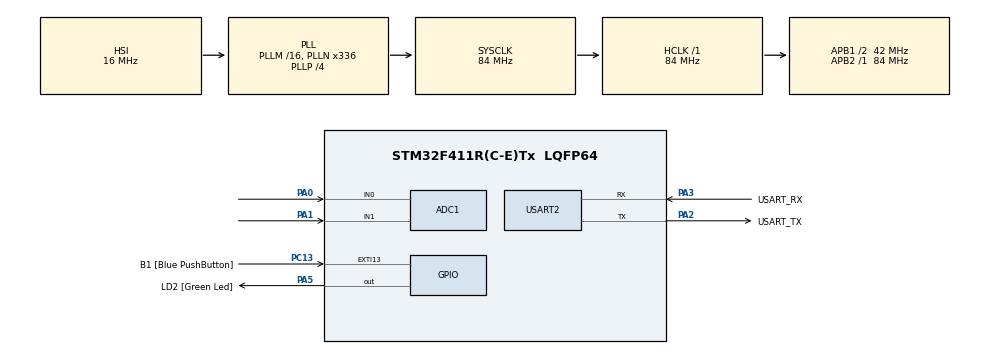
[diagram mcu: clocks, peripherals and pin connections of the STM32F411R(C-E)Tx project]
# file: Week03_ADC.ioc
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ADC1.Channel-0\#ChannelRegularConversion=ADC_CHANNEL_0
ADC1.NbrOfConversionFlag=1
ADC1.Rank-0\#ChannelRegularConversion=1
ADC1.SamplingTime-0\#ChannelRegularConversion=ADC_SAMPLETIME_3CYCLES
ADC1.master=1
Mcu.Family=STM32F4
Mcu.Name=STM32F411R(C-E)Tx
Mcu.Package=LQFP64
NVIC.PriorityGroup=NVIC_PRIORITYGROUP_0
PA0-WKUP.Signal=ADCx_IN0
PA1.Signal=ADCx_IN1
PA13.GPIO_Label=TMS
PA13.Mode=Serial_Wire
PA13.Signal=SYS_JTMS-SWDIO
PA14.GPIO_Label=TCK
PA14.Mode=Serial_Wire
PA14.Signal=SYS_JTCK-SWCLK
PA2.GPIO_Label=USART_TX
PA2.Mode=Asynchronous
PA2.Signal=USART2_TX
PA3.GPIO_Label=USART_RX
PA3.Mode=Asynchronous
PA3.Signal=USART2_RX
PA5.GPIO_Label=LD2 [Green Led]
PA5.Signal=GPIO_Output
PB3.GPIO_Label=SWO
PB3.Signal=SYS_JTDO-SWO
PC13-ANTI_TAMP.GPIO_Label=B1 [Blue PushButton]
PC13-ANTI_TAMP.GPIO_ModeDefaultEXTI=GPIO_MODE_IT_FALLING
PC13-ANTI_TAMP.Signal=GPXTI13
PC14-OSC32_IN.Mode=LSE-External-Oscillator
PC14-OSC32_IN.Signal=RCC_OSC32_IN
PC15-OSC32_OUT.Mode=LSE-External-Oscillator
PC15-OSC32_OUT.Signal=RCC_OSC32_OUT
PH0\ -\ OSC_IN.Mode=HSE-External-Clock-Source
PH0\ -\ OSC_IN.Signal=RCC_OSC_IN
PH1\ -\ OSC_OUT.Mode=HSE-External-Clock-Source
PH1\ -\ OSC_OUT.Signal=RCC_OSC_OUT
ProjectManager.HeapSize=0x200
ProjectManager.StackSize=0x400
ProjectManager.TargetToolchain=STM32CubeIDE
RCC.48MHZClocksFreq_Value=84000000
RCC.AHBFreq_Value=84000000
RCC.APB1CLKDivider=RCC_HCLK_DIV2
RCC.APB1Freq_Value=42000000
RCC.APB1TimFreq_Value=84000000
RCC.APB2Freq_Value=84000000
RCC.APB2TimFreq_Value=84000000
RCC.CortexFreq_Value=84000000
RCC.FLatency-AdvancedSettings=FLASH_LATENCY_2
RCC.HCLKFreq_Value=84000000
RCC.HSE_VALUE=8000000
RCC.HSI_VALUE=16000000
RCC.PLLN=336
RCC.PLLP=RCC_PLLP_DIV4
RCC.SYSCLKFreq_VALUE=84000000
RCC.SYSCLKSource=RCC_SYSCLKSOURCE_PLLCLK
RCC.VCOOutputFreq_Value=336000000
SH.ADCx_IN0.0=ADC1_IN0,IN0
SH.ADCx_IN1.0=ADC1_IN1,IN1
USART2.VirtualMode=VM_ASYNC
VP_ADC1_TempSens_Input.Mode=IN-TempSens
board=NUCLEO-F411RE

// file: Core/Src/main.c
/* USER CODE BEGIN Header */
/**
  ******************************************************************************
  * @file           : main.c
  * @brief          : Main program body
  ******************************************************************************
  * @attention
  *
  * Copyright (c) 2023 STMicroelectronics.
  * All rights reserved.
  *
  * This software is licensed under terms that can be found in the LICENSE file
  * in the root directory of this software component.
  * If no LICENSE file comes with this software, it is provided AS-IS.
  *
  ******************************************************************************
  */
/* USER CODE END Header */
#include "main.h"

ADC_HandleTypeDef hadc1;

UART_HandleTypeDef huart2;

/* USER CODE BEGIN PV */
typedef struct
{
	ADC_ChannelConfTypeDef Config;
	uint16_t ADC_Data;
}ADC_Structure;
ADC_Structure ADC_Channel[3];
double TEMPS;
//uint32_t ADC_RawData;
/* USER CODE END PV */

void SystemClock_Config(void);
static void MX_GPIO_Init(void);
static void MX_USART2_UART_Init(void);
static void MX_ADC1_Init(void);
void ADC_Read();
void ADC_ConfigInit();
void Read_TEMPS();

int main(void)
{

  /* MCU Configuration--------------------------------------------------------*/

  /* Reset of all peripherals, Initializes the Flash interface and the Systick. */
  HAL_Init();

  /* Configure the system clock */
  SystemClock_Config();

  /* Initialize all configured peripherals */
  MX_GPIO_Init();
  MX_USART2_UART_Init();
  MX_ADC1_Init();
  /* USER CODE BEGIN 2 */
  ADC_ConfigInit();
  /* USER CODE END 2 */

  /* Infinite loop */
  while (1)
  {
	  ADC_Read();
	  Read_TEMPS();
  }
}

void SystemClock_Config(void)
{
  RCC_OscInitTypeDef RCC_OscInitStruct = {0};
  RCC_ClkInitTypeDef RCC_ClkInitStruct = {0};

  /** Configure the main internal regulator output voltage
  */
  __HAL_RCC_PWR_CLK_ENABLE();
  __HAL_PWR_VOLTAGESCALING_CONFIG(PWR_REGULATOR_VOLTAGE_SCALE1);

  /** Initializes the RCC Oscillators according to the specified parameters
  * in the RCC_OscInitTypeDef structure.
  */
  RCC_OscInitStruct.OscillatorType = RCC_OSCILLATORTYPE_HSI;
  RCC_OscInitStruct.HSIState = RCC_HSI_ON;
  RCC_OscInitStruct.HSICalibrationValue = RCC_HSICALIBRATION_DEFAULT;
  RCC_OscInitStruct.PLL.PLLState = RCC_PLL_ON;
  RCC_OscInitStruct.PLL.PLLSource = RCC_PLLSOURCE_HSI;
  RCC_OscInitStruct.PLL.PLLM = 16;
  RCC_OscInitStruct.PLL.PLLN = 336;
  RCC_OscInitStruct.PLL.PLLP = RCC_PLLP_DIV4;
  RCC_OscInitStruct.PLL.PLLQ = 4;
  if (HAL_RCC_OscConfig(&RCC_OscInitStruct) != HAL_OK)
  {
    Error_Handler();
  }

  /** Initializes the CPU, AHB and APB buses clocks
  */
  RCC_ClkInitStruct.ClockType = RCC_CLOCKTYPE_HCLK|RCC_CLOCKTYPE_SYSCLK
                              |RCC_CLOCKTYPE_PCLK1|RCC_CLOCKTYPE_PCLK2;
  RCC_ClkInitStruct.SYSCLKSource = RCC_SYSCLKSOURCE_PLLCLK;
  RCC_ClkInitStruct.AHBCLKDivider = RCC_SYSCLK_DIV1;
  RCC_ClkInitStruct.APB1CLKDivider = RCC_HCLK_DIV2;
  RCC_ClkInitStruct.APB2CLKDivider = RCC_HCLK_DIV1;

  if (HAL_RCC_ClockConfig(&RCC_ClkInitStruct, FLASH_LATENCY_2) != HAL_OK)
  {
    Error_Handler();
  }
}

static void MX_ADC1_Init(void)
{

  ADC_ChannelConfTypeDef sConfig = {0};

  /** Configure the global features of the ADC (Clock, Resolution, Data Alignment and number of conversion)
  */
  hadc1.Instance = ADC1;
  hadc1.Init.ClockPrescaler = ADC_CLOCK_SYNC_PCLK_DIV4;
  hadc1.Init.Resolution = ADC_RESOLUTION_12B;
  hadc1.Init.ScanConvMode = DISABLE;
  hadc1.Init.ContinuousConvMode = DISABLE;
  hadc1.Init.DiscontinuousConvMode = DISABLE;
  hadc1.Init.ExternalTrigConvEdge = ADC_EXTERNALTRIGCONVEDGE_NONE;
  hadc1.Init.ExternalTrigConv = ADC_SOFTWARE_START;
  hadc1.Init.DataAlign = ADC_DATAALIGN_RIGHT;
  hadc1.Init.NbrOfConversion = 1;
  hadc1.Init.DMAContinuousRequests = DISABLE;
  hadc1.Init.EOCSelection = ADC_EOC_SINGLE_CONV;
  if (HAL_ADC_Init(&hadc1) != HAL_OK)
  {
    Error_Handler();
  }

  /** Configure for the selected ADC regular channel its corresponding rank in the sequencer and its sample time.
  */
  sConfig.Channel = ADC_CHANNEL_0;
  sConfig.Rank = 1;
  sConfig.SamplingTime = ADC_SAMPLETIME_3CYCLES;
  if (HAL_ADC_ConfigChannel(&hadc1, &sConfig) != HAL_OK)
  {
    Error_Handler();
  }

}

static void MX_USART2_UART_Init(void)
{

  huart2.Instance = USART2;
  huart2.Init.BaudRate = 115200;
  huart2.Init.WordLength = UART_WORDLENGTH_8B;
  huart2.Init.StopBits = UART_STOPBITS_1;
  huart2.Init.Parity = UART_PARITY_NONE;
  huart2.Init.Mode = UART_MODE_TX_RX;
  huart2.Init.HwFlowCtl = UART_HWCONTROL_NONE;
  huart2.Init.OverSampling = UART_OVERSAMPLING_16;
  if (HAL_UART_Init(&huart2) != HAL_OK)
  {
    Error_Handler();
  }

}

static void MX_GPIO_Init(void)
{
  GPIO_InitTypeDef GPIO_InitStruct = {0};

  /* GPIO Ports Clock Enable */
  __HAL_RCC_GPIOC_CLK_ENABLE();
  __HAL_RCC_GPIOH_CLK_ENABLE();
  __HAL_RCC_GPIOA_CLK_ENABLE();
  __HAL_RCC_GPIOB_CLK_ENABLE();

  /*Configure GPIO pin Output Level */
  HAL_GPIO_WritePin(LD2_GPIO_Port, LD2_Pin, GPIO_PIN_RESET);

  /*Configure GPIO pin : B1_Pin */
  GPIO_InitStruct.Pin = B1_Pin;
  GPIO_InitStruct.Mode = GPIO_MODE_IT_FALLING;
  GPIO_InitStruct.Pull = GPIO_NOPULL;
  HAL_GPIO_Init(B1_GPIO_Port, &GPIO_InitStruct);

  /*Configure GPIO pin : LD2_Pin */
  GPIO_InitStruct.Pin = LD2_Pin;
  GPIO_InitStruct.Mode = GPIO_MODE_OUTPUT_PP;
  GPIO_InitStruct.Pull = GPIO_NOPULL;
  GPIO_InitStruct.Speed = GPIO_SPEED_FREQ_LOW;
  HAL_GPIO_Init(LD2_GPIO_Port, &GPIO_InitStruct);

}

/* USER CODE BEGIN 4 */
void ADC_ConfigInit()
{
	ADC_Channel[0].Config.Channel = ADC_CHANNEL_0;
	ADC_Channel[0].Config.SamplingTime = ADC_SAMPLETIME_3CYCLES;
	ADC_Channel[0].Config.Rank = 1;

	ADC_Channel[1].Config.Channel = ADC_CHANNEL_1;
	ADC_Channel[1].Config.SamplingTime = ADC_SAMPLETIME_3CYCLES;
	ADC_Channel[1].Config.Rank = 1;

	ADC_Channel[2].Config.Channel = ADC_CHANNEL_TEMPSENSOR;
	ADC_Channel[2].Config.SamplingTime = ADC_SAMPLETIME_3CYCLES;
	ADC_Channel[2].Config.Rank = 1;
}
void ADC_Read()
{

	register int i;
	for(i = 0;i<3;i++)
	{
		HAL_ADC_ConfigChannel(&hadc1, &ADC_Channel[i].Config);

		HAL_ADC_Start(&hadc1);

		HAL_ADC_PollForConversion(&hadc1, 10);

		ADC_Channel[i].ADC_Data = HAL_ADC_GetValue(&hadc1);

		HAL_ADC_Stop(&hadc1);
	}
}
void Read_TEMPS()
{
	TEMPS = ((ADC_Channel[2].ADC_Data-250)/2.5)+25;
}
/* USER CODE END 4 */

void Error_Handler(void)
{
  __disable_irq();
  while (1)
  {
  }
}
